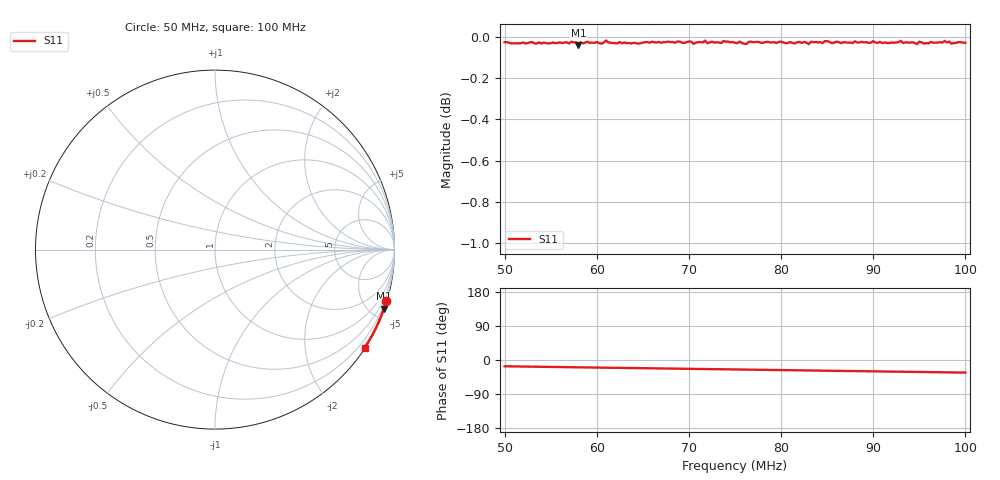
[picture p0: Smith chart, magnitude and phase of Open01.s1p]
!Agilent Technologies,E5072A,MY51200456,A.01.06
!Date: Tue Sep 01 20:03:29 2015
!Data & Calibration Information:
!Freq	S11:SOLT1(ON)
!PortZ  Port1:50+j0
!Above PortZ is port z conversion or system Z0 setting when saving the data.
!When reading, reference impedance value at option line is always used.
# Hz S dB R 50
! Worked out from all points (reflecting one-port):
!   201 points, 50 MHz to 100 MHz, reference 50 ohm
!   lowest |S11| = 0.0 dB at 58 MHz (marker M1), VSWR 443.40, Z = 4.03 - j295 ohm
!   phase of S11 starts at -17 deg and turns -17 deg over the sweep
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5e7  -0.02 -16.6
5.625e7  -0.03 -18.7
5.725e7  -0.02 -19.0
5.8e7  -0.04 -19.3
5.9e7  -0.02 -19.6
6.05e7  -0.03 -20.1
6.1e7  -0.02 -20.3
6.225e7  -0.03 -20.6
6.25e7  -0.02 -20.8
6.875e7  -0.02 -22.9
7.025e7  -0.02 -23.4
7.05e7  -0.03 -23.3
7.075e7  -0.03 -23.5
7.175e7  -0.02 -23.9
7.2e7  -0.03 -23.9
7.5e7  -0.03 -25.0
8.125e7  -0.03 -27.0
8.525e7  -0.02 -28.4
8.55e7  -0.03 -28.4
8.75e7  -0.03 -29.1
9.375e7  -0.03 -31.2
9.4e7  -0.03 -31.3
9.475e7  -0.03 -31.5
9.775e7  -0.02 -32.5
9.85e7  -0.03 -32.8
9.925e7  -0.02 -33.0
9.975e7  -0.03 -33.2
1e8  -0.03 -33.2
